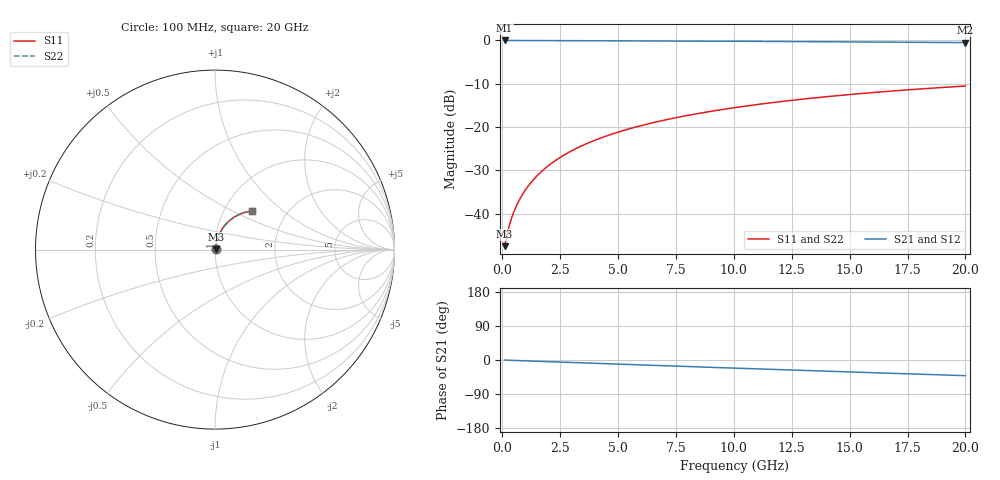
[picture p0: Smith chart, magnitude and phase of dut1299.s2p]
! Touchstone file exported from HFSS 2026.1.0
!  File:  C:/ffzhzh/LocalFiles/Ansys_Project_Files/temp_train_TMRDL_1299_1783164650_43440.aedt
!  Generated:  07:31:59 PM Jul  4, 2026
!  Design:  TMRDL
!  Project:  temp_train_TMRDL_1299_1783164650_43440
! Variables:
!  h_bsmrdl = 2um
!  h_ox = 20um
!  h_rdl = 5um
!  h_sub = 80um
!  h_tmrdl = 3.24um
!  h_tsv = 80um
!  h_via = 3um
!  l_bsmrdl = 300um
!  l_sub = 1056.44um
!  l_tmrdl = 656.44um
!  m_sub = 200um
!  pitch = 36.09um
!  r_tsv = 6um
!  s_tmrdl = 10um
!  w_bsmrdl = 18um
!  w_sub = 500um
!  w_tmrdl = 20.71um
!  x_tsv_center1 = 666.795um
!  x_tsv_center2 = 984.795um
!  x_tsv_center3 = 1661.945um
!  x_tsv_center4 = 1979.945um
!  x_tsv_center5 = 2657.095um
!  x_tsv_center6 = 2975.095um
# GHz S MA R 50.000000
! Terminal data exported
! Port[1] = TM_RDL1_1_T1
! Port[2] = TM_RDL1_1_T2
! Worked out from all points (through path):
!   200 points, 100 MHz to 20 GHz, reference 50 ohm
!   highest |S21| = -0.03 dB at 100 MHz (marker M1); lowest = -0.5 dB at 20 GHz (marker M2)
!   group delay of S21, straight-line fit = 5.74 ps
!   lowest |S11| = -47.5 dB at 100 MHz (marker M3), VSWR 1.01, Z = 50.4 + j0.208 ohm
!   |S11| at or under -10 dB: start of sweep to end of sweep
!   |S22| runs from -47.5 to -10.5 dB; largest |S21 - S12| = 3.3e-15
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0.1  0.004219 29.4  0.9963 -0.2  0.9963 -0.2  0.004219 29.4
! Gamma 0 0 0 0
! Port Impedance 50 0 50 0
0.2  0.005612 46.2  0.9961 -0.5  0.9961 -0.5  0.005612 46.2
0.3  0.007225 55.1  0.9959 -0.7  0.9959 -0.7  0.007226 55.1
0.4  0.008873 60.4  0.9957 -0.9  0.9957 -0.9  0.008873 60.4
0.5  0.01052 64.0  0.9955 -1.1  0.9955 -1.1  0.01052 64.0
0.6  0.01217 66.7  0.9954 -1.3  0.9954 -1.3  0.01217 66.7
0.8  0.01548 70.4  0.9952 -1.8  0.9952 -1.8  0.01548 70.4
1  0.01884 72.9  0.995 -2.2  0.995 -2.2  0.01884 72.9
1.2  0.02223 74.5  0.9948 -2.6  0.9948 -2.6  0.02223 74.5
1.4  0.02564 75.6  0.9947 -3.1  0.9947 -3.1  0.02564 75.6
1.7  0.0308 76.7  0.9944 -3.7  0.9944 -3.7  0.0308 76.7
2.2  0.03944 77.4  0.9939 -4.8  0.9939 -4.8  0.03944 77.4
2.8  0.0498 77.4  0.9932 -6.1  0.9932 -6.1  0.0498 77.4
3.5  0.06184 76.9  0.9922 -7.6  0.9922 -7.6  0.06184 76.9
4.2  0.07378 76.0  0.991 -9.2  0.991 -9.2  0.07378 75.9
5  0.08726 74.7  0.9894 -10.9  0.9894 -10.9  0.08727 74.7
6.8  0.1169 71.4  0.9852 -14.7  0.9852 -14.7  0.1169 71.4
8.3  0.1407 68.6  0.9812 -17.9  0.9812 -17.9  0.1407 68.5
10.1  0.1682 65.1  0.9758 -21.6  0.9758 -21.6  0.1682 65.0
13.4  0.2155 58.7  0.965 -28.3  0.965 -28.3  0.2155 58.6
16.7  0.2585 52.4  0.9534 -34.9  0.9534 -34.9  0.2585 52.3
20  0.297 46.2  0.9414 -41.3  0.9414 -41.3  0.297 46.1
